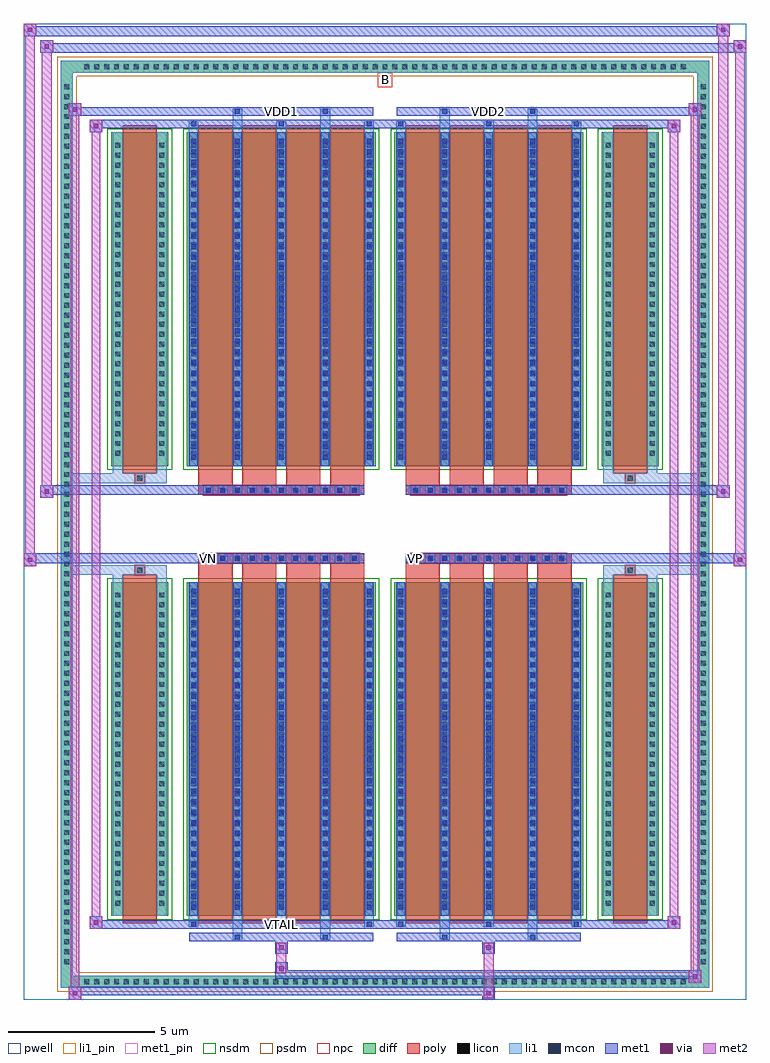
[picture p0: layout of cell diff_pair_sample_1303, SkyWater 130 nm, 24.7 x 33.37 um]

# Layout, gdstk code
import gdstk
lib = gdstk.Library(unit=1e-6, precision=5e-09)
def R(c, l, rs):  # rectangles x0, y0, x1, y1
    for r in rs: c.add(gdstk.rectangle(r[:2], r[2:], *l))
def A(c, l, x, y, w, h, nx, ny, dx, dy):  # array of equal rectangles
    R(c, l, [(x+i*dx, y+j*dy, x+i*dx+w, y+j*dy+h) for i in range(nx) for j in range(ny)])
def P(c, l, *ps):  # polygons
    for p in ps: c.add(gdstk.Polygon(p, *l))
pwell = (64, 44)
diff = (65, 20)
poly = (66, 20)
licon = (66, 44)
li1_pin = (67, 16)
li1 = (67, 20)
mcon = (67, 44)
met1_pin = (68, 16)
met1 = (68, 20)
via = (68, 44)
met2 = (69, 20)
nsdm = (93, 44)
psdm = (94, 20)
npc = (95, 20)

diff_pair_sample_1303 = lib.new_cell('diff_pair_sample_1303')
R(diff_pair_sample_1303, pwell, [(-12.35,-16.25,12.35,17.12), (-9.67,-14.44,-0.01,-0.8), (0.01,-14.44,9.67,-0.8), (-9.67,0.8,-0.01,14.44), (0.01,0.8,9.67,14.44)])
A(diff_pair_sample_1303, diff, -10.405, -15.85, 0.41, 0.41, 61, 2, 0.34, 31.29)
A(diff_pair_sample_1303, diff, -11.08, -15.165, 0.41, 0.41, 1, 89, 0, 0.34)
A(diff_pair_sample_1303, diff, 10.67, -15.165, 0.41, 0.41, 1, 89, 0, 0.34)
R(diff_pair_sample_1303, diff, [(-10.405,-15.85,10.405,-15.44), (-11.08,-15.165,-10.67,15.165), (10.67,-15.165,11.08,15.165), (-9.36,-13.395,-7.41,-1.985), (-6.77,-13.395,-0.32,-1.985), (0.32,-13.395,6.77,-1.985), (7.41,-13.395,9.36,-1.985), (-9.36,1.985,-7.41,13.395), (-6.77,1.985,-0.32,13.395), (0.32,1.985,6.77,13.395), (7.41,1.985,9.36,13.395), (-10.405,15.44,10.405,15.85)])
P(diff_pair_sample_1303, diff, [(11.08,15.85),(-11.08,15.85),(-11.08,-15.44),(-10.67,-15.44),(-10.67,15.44),(10.67,15.44),(10.67,-15.44),(-10.67,-15.44),(-11.08,-15.44),(-11.08,-15.85),(11.08,-15.85)])
A(diff_pair_sample_1303, poly, -6.38, -13.645, 1.17, 11.91, 4, 2, 1.5, 15.38)
A(diff_pair_sample_1303, poly, 0.71, -13.645, 1.17, 11.91, 4, 2, 1.5, 15.38)
A(diff_pair_sample_1303, poly, -6.38, -1.735, 1.17, 0.405, 4, 2, 1.5, 3.065)
A(diff_pair_sample_1303, poly, 0.71, -1.735, 1.17, 0.405, 4, 2, 1.5, 3.065)
A(diff_pair_sample_1303, poly, -6.21, -1.33, 0.33, 0.33, 11, 2, 0.5, 2.33)
A(diff_pair_sample_1303, poly, 0.88, -1.33, 0.33, 0.33, 11, 2, 0.5, 2.33)
R(diff_pair_sample_1303, poly, [(-8.97,-13.645,-7.8,-1.735), (7.8,-13.645,8.97,-1.735), (-8.55,-1.735,-8.22,-1.405), (-8.55,-1.735,-8.22,-1.405), (8.22,-1.735,8.55,-1.405), (8.22,-1.735,8.55,-1.405), (-6.38,-1.33,-0.71,-1), (0.71,-1.33,6.38,-1), (-6.38,1,-0.71,1.33), (0.71,1,6.38,1.33), (-8.55,1.405,-8.22,1.735), (-8.55,1.405,-8.22,1.735), (8.22,1.405,8.55,1.735), (8.22,1.405,8.55,1.735), (-8.97,1.735,-7.8,13.645), (7.8,1.735,8.97,13.645)])
A(diff_pair_sample_1303, licon, -10.285, -15.73, 0.17, 0.17, 61, 2, 0.34, 31.29)
A(diff_pair_sample_1303, licon, -10.96, -15.045, 0.17, 0.17, 1, 89, 0, 0.34)
A(diff_pair_sample_1303, licon, 10.79, -15.045, 0.17, 0.17, 1, 89, 0, 0.34)
A(diff_pair_sample_1303, licon, -9.22, -13.045, 0.17, 0.17, 1, 32, 0, 0.34)
A(diff_pair_sample_1303, licon, -7.72, -13.045, 0.17, 0.17, 1, 32, 0, 0.34)
A(diff_pair_sample_1303, licon, -6.63, -13.045, 0.17, 0.17, 5, 32, 1.5, 0.34)
A(diff_pair_sample_1303, licon, 0.46, -13.045, 0.17, 0.17, 5, 32, 1.5, 0.34)
A(diff_pair_sample_1303, licon, 7.55, -13.045, 0.17, 0.17, 1, 32, 0, 0.34)
A(diff_pair_sample_1303, licon, 9.05, -13.045, 0.17, 0.17, 1, 32, 0, 0.34)
A(diff_pair_sample_1303, licon, -6.13, -1.25, 0.17, 0.17, 11, 2, 0.5, 2.33)
A(diff_pair_sample_1303, licon, 0.96, -1.25, 0.17, 0.17, 11, 2, 0.5, 2.33)
A(diff_pair_sample_1303, licon, -9.22, 2.335, 0.17, 0.17, 1, 32, 0, 0.34)
A(diff_pair_sample_1303, licon, -7.72, 2.335, 0.17, 0.17, 1, 32, 0, 0.34)
A(diff_pair_sample_1303, licon, -6.63, 2.335, 0.17, 0.17, 5, 32, 1.5, 0.34)
A(diff_pair_sample_1303, licon, 0.46, 2.335, 0.17, 0.17, 5, 32, 1.5, 0.34)
A(diff_pair_sample_1303, licon, 7.55, 2.335, 0.17, 0.17, 1, 32, 0, 0.34)
A(diff_pair_sample_1303, licon, 9.05, 2.335, 0.17, 0.17, 1, 32, 0, 0.34)
R(diff_pair_sample_1303, licon, [(-8.47,-1.655,-8.3,-1.485), (8.3,-1.655,8.47,-1.485), (-8.47,1.485,-8.3,1.655), (8.3,1.485,8.47,1.655)])
R(diff_pair_sample_1303, li1_pin, [(-0.25,14.94,0.25,15.44)])
A(diff_pair_sample_1303, li1, -10.365, -15.81, 0.33, 0.33, 61, 2, 0.34, 31.29)
A(diff_pair_sample_1303, li1, -11.04, -15.125, 0.33, 0.33, 1, 89, 0, 0.34)
A(diff_pair_sample_1303, li1, 10.71, -15.125, 0.33, 0.33, 1, 89, 0, 0.34)
A(diff_pair_sample_1303, li1, -6.71, -13.77, 0.33, 0.375, 3, 2, 3, 27.165)
A(diff_pair_sample_1303, li1, -6.63, -13.77, 0.17, 0.17, 3, 2, 3, 27.37)
A(diff_pair_sample_1303, li1, 0.38, -13.77, 0.33, 0.375, 3, 2, 3, 27.165)
A(diff_pair_sample_1303, li1, 0.46, -13.77, 0.17, 0.17, 3, 2, 3, 27.37)
A(diff_pair_sample_1303, li1, -6.71, -13.395, 0.33, 11.41, 5, 2, 1.5, 15.38)
A(diff_pair_sample_1303, li1, 0.38, -13.395, 0.33, 11.41, 5, 2, 1.5, 15.38)
A(diff_pair_sample_1303, li1, -6.63, -13.175, 0.17, 0.17, 5, 31, 1.5, 0.36)
A(diff_pair_sample_1303, li1, -6.63, -13.175, 0.17, 10.97, 5, 2, 1.5, 15.38)
A(diff_pair_sample_1303, li1, 0.46, -13.175, 0.17, 0.17, 5, 31, 1.5, 0.36)
A(diff_pair_sample_1303, li1, 0.46, -13.175, 0.17, 10.97, 5, 2, 1.5, 15.38)
A(diff_pair_sample_1303, li1, -9.3, -13.125, 0.33, 0.33, 1, 32, 0, 0.34)
A(diff_pair_sample_1303, li1, -7.8, -13.125, 0.33, 0.33, 1, 32, 0, 0.34)
A(diff_pair_sample_1303, li1, -6.71, -13.125, 0.33, 0.33, 5, 32, 1.5, 0.34)
A(diff_pair_sample_1303, li1, 0.38, -13.125, 0.33, 0.33, 5, 32, 1.5, 0.34)
A(diff_pair_sample_1303, li1, 7.47, -13.125, 0.33, 0.33, 1, 32, 0, 0.34)
A(diff_pair_sample_1303, li1, 8.97, -13.125, 0.33, 0.33, 1, 32, 0, 0.34)
A(diff_pair_sample_1303, li1, -6.21, -1.33, 0.33, 0.33, 11, 2, 0.5, 2.33)
A(diff_pair_sample_1303, li1, 0.88, -1.33, 0.33, 0.33, 11, 2, 0.5, 2.33)
A(diff_pair_sample_1303, li1, -6.63, 2.205, 0.17, 0.17, 5, 31, 1.5, 0.36)
A(diff_pair_sample_1303, li1, 0.46, 2.205, 0.17, 0.17, 5, 31, 1.5, 0.36)
A(diff_pair_sample_1303, li1, -9.3, 2.255, 0.33, 0.33, 1, 32, 0, 0.34)
A(diff_pair_sample_1303, li1, -7.8, 2.255, 0.33, 0.33, 1, 32, 0, 0.34)
A(diff_pair_sample_1303, li1, -6.71, 2.255, 0.33, 0.33, 5, 32, 1.5, 0.34)
A(diff_pair_sample_1303, li1, 0.38, 2.255, 0.33, 0.33, 5, 32, 1.5, 0.34)
A(diff_pair_sample_1303, li1, 7.47, 2.255, 0.33, 0.33, 1, 32, 0, 0.34)
A(diff_pair_sample_1303, li1, 8.97, 2.255, 0.33, 0.33, 1, 32, 0, 0.34)
R(diff_pair_sample_1303, li1, [(-11.08,-15.85,-10.67,-15.44), (-11.08,-15.85,-10.67,-15.44), (-10.67,-15.85,10.67,-15.44), (10.67,-15.85,11.08,-15.44), (10.67,-15.85,11.08,-15.44), (-11.08,-15.44,-10.67,15.44), (10.67,-15.44,11.08,15.44), (-5.21,-14.2,-4.88,-13.395), (-5.13,-14.2,-4.96,-14.03), (-2.21,-14.2,-1.88,-13.395), (-2.13,-14.2,-1.96,-14.03), (1.88,-14.2,2.21,-13.395), (1.96,-14.2,2.13,-14.03), (4.88,-14.2,5.21,-13.395), (4.96,-14.2,5.13,-14.03), (-9.3,-13.395,-8.97,-1.985), (-7.8,-13.395,-7.47,-1.985), (7.47,-13.395,7.8,-1.985), (8.97,-13.395,9.3,-1.985), (-9.3,-1.985,-8.97,-1.405), (-7.8,-1.985,-7.47,-1.405), (7.47,-1.985,7.8,-1.405), (8.97,-1.985,9.3,-1.405), (-11.08,-1.735,-8.55,-1.405), (-9.3,-1.735,-8.55,-1.405), (-8.55,-1.735,-8.22,-1.405), (-8.22,-1.735,-7.47,-1.405), (7.47,-1.735,8.22,-1.405), (8.22,-1.735,8.55,-1.405), (8.22,-1.735,11.08,-1.405), (8.55,-1.735,9.3,-1.405), (-11.08,1.405,-8.55,1.735), (-9.3,1.405,-8.55,1.735), (-9.3,1.405,-8.97,1.985), (-8.55,1.405,-8.22,1.735), (-8.22,1.405,-7.47,1.735), (-7.8,1.405,-7.47,1.985), (7.47,1.405,8.22,1.735), (7.47,1.405,7.8,1.985), (8.22,1.405,8.55,1.735), (8.22,1.405,11.08,1.735), (8.55,1.405,9.3,1.735), (8.97,1.405,9.3,1.985), (-9.3,1.985,-8.97,13.395), (-7.8,1.985,-7.47,13.395), (7.47,1.985,7.8,13.395), (8.97,1.985,9.3,13.395), (-5.21,13.395,-4.88,14.2), (-2.21,13.395,-1.88,14.2), (1.88,13.395,2.21,14.2), (4.88,13.395,5.21,14.2), (-5.13,14.03,-4.96,14.2), (-2.13,14.03,-1.96,14.2), (1.96,14.03,2.13,14.2), (4.96,14.03,5.13,14.2), (-11.08,15.44,-10.67,15.85), (-11.08,15.44,-10.67,15.85), (-10.67,15.44,10.67,15.85), (10.67,15.44,11.08,15.85), (10.67,15.44,11.08,15.85)])
A(diff_pair_sample_1303, mcon, -6.63, -13.77, 0.17, 0.17, 3, 2, 3, 27.37)
A(diff_pair_sample_1303, mcon, 0.46, -13.77, 0.17, 0.17, 3, 2, 3, 27.37)
A(diff_pair_sample_1303, mcon, -6.63, -13.175, 0.17, 0.17, 5, 31, 1.5, 0.36)
A(diff_pair_sample_1303, mcon, 0.46, -13.175, 0.17, 0.17, 5, 31, 1.5, 0.36)
A(diff_pair_sample_1303, mcon, -6.13, -1.25, 0.17, 0.17, 11, 2, 0.5, 2.33)
A(diff_pair_sample_1303, mcon, 0.96, -1.25, 0.17, 0.17, 11, 2, 0.5, 2.33)
A(diff_pair_sample_1303, mcon, -6.63, 2.205, 0.17, 0.17, 5, 31, 1.5, 0.36)
A(diff_pair_sample_1303, mcon, 0.46, 2.205, 0.17, 0.17, 5, 31, 1.5, 0.36)
R(diff_pair_sample_1303, mcon, [(-5.13,-14.2,-4.96,-14.03), (-2.13,-14.2,-1.96,-14.03), (1.96,-14.2,2.13,-14.03), (4.96,-14.2,5.13,-14.03), (-5.13,14.03,-4.96,14.2), (-2.13,14.03,-1.96,14.2), (1.96,14.03,2.13,14.2), (4.96,14.03,5.13,14.2)])
R(diff_pair_sample_1303, met1_pin, [(-3.68,-13.81,-3.41,-13.54), (-6.18,-1.29,-5.91,-1.02), (0.91,-1.29,1.18,-1.02), (-3.68,13.99,-3.41,14.26), (3.41,13.99,3.68,14.26)])
A(diff_pair_sample_1303, met1, -6.69, -13.83, 0.29, 0.29, 3, 2, 3, 27.37)
A(diff_pair_sample_1303, met1, 0.4, -13.83, 0.29, 0.29, 3, 2, 3, 27.37)
A(diff_pair_sample_1303, met1, -6.69, -13.395, 0.29, 11.41, 5, 2, 1.5, 15.38)
A(diff_pair_sample_1303, met1, 0.4, -13.395, 0.29, 11.41, 5, 2, 1.5, 15.38)
A(diff_pair_sample_1303, met1, -6.69, -13.235, 0.29, 0.29, 5, 31, 1.5, 0.36)
A(diff_pair_sample_1303, met1, 0.4, -13.235, 0.29, 0.29, 5, 31, 1.5, 0.36)
A(diff_pair_sample_1303, met1, -6.19, -1.31, 0.29, 0.29, 11, 2, 0.5, 2.33)
A(diff_pair_sample_1303, met1, 0.9, -1.31, 0.29, 0.29, 11, 2, 0.5, 2.33)
A(diff_pair_sample_1303, met1, -6.69, 2.145, 0.29, 0.29, 5, 31, 1.5, 0.36)
A(diff_pair_sample_1303, met1, 0.4, 2.145, 0.29, 0.29, 5, 31, 1.5, 0.36)
R(diff_pair_sample_1303, met1, [(-10.81,-16.25,-10.38,-15.82), (3.33,-16.25,3.76,-15.82), (-10.81,-16.11,3.76,-15.82), (10.38,-15.68,10.81,-15.25), (-3.76,-15.54,10.81,-15.25), (-3.76,-15.4,-3.33,-14.97), (-3.76,-14.69,-3.33,-14.26), (3.33,-14.69,3.76,-14.26), (-6.69,-14.26,-0.4,-13.97), (-5.19,-14.26,-4.9,-13.97), (-2.19,-14.26,-1.9,-13.97), (0.4,-14.26,6.69,-13.97), (1.9,-14.26,2.19,-13.97), (4.9,-14.26,5.19,-13.97), (-10.1,-13.83,-9.67,-13.4), (-10.1,-13.83,-6.69,-13.54), (-6.69,-13.83,-0.4,-13.54), (-0.4,-13.83,0.4,-13.54), (0.4,-13.83,6.69,-13.54), (6.69,-13.83,10.1,-13.54), (9.67,-13.83,10.1,-13.4), (-12.35,-1.43,-11.92,-1), (11.92,-1.43,12.35,-1), (-12.35,-1.33,-0.71,-1), (-6.38,-1.33,-0.71,-1), (0.71,-1.33,6.38,-1), (0.71,-1.33,12.35,-1), (-11.78,0.9,-11.35,1.33), (11.35,0.9,11.78,1.33), (-11.78,1,-6.38,1.33), (-6.38,1,-0.71,1.33), (0.71,1,6.38,1.33), (6.38,1,11.78,1.33), (-10.1,13.4,-9.67,13.83), (9.67,13.4,10.1,13.83), (-10.1,13.54,-6.69,13.83), (-6.69,13.54,-0.4,13.83), (-0.4,13.54,0.4,13.83), (0.4,13.54,6.69,13.83), (6.69,13.54,10.1,13.83), (-10.81,13.97,-10.38,14.4), (-10.81,13.97,-6.69,14.26), (-6.69,13.97,-0.4,14.26), (-5.19,13.97,-4.9,14.26), (-2.19,13.97,-1.9,14.26), (0.4,13.97,6.69,14.26), (1.9,13.97,2.19,14.26), (4.9,13.97,5.19,14.26), (6.69,13.97,10.81,14.26), (10.38,13.97,10.81,14.4), (-11.78,16.12,-11.35,16.55), (-11.78,16.12,-9.67,16.45), (-9.67,16.12,9.67,16.45), (9.67,16.12,12.35,16.45), (11.92,16.12,12.35,16.55), (-12.35,16.69,-11.92,17.12), (-12.35,16.69,-9.67,17.02), (-9.67,16.69,9.67,17.02), (9.67,16.69,11.78,17.02), (11.35,16.69,11.78,17.12)])
R(diff_pair_sample_1303, via, [(-10.67,-16.11,-10.52,-15.96), (3.47,-16.11,3.62,-15.96), (10.52,-15.54,10.67,-15.39), (-3.62,-15.26,-3.47,-15.11), (-3.62,-14.55,-3.47,-14.4), (3.47,-14.55,3.62,-14.4), (-9.96,-13.69,-9.81,-13.54), (9.81,-13.69,9.96,-13.54), (-12.21,-1.29,-12.06,-1.14), (12.06,-1.29,12.21,-1.14), (-11.64,1.04,-11.49,1.19), (11.49,1.04,11.64,1.19), (-9.96,13.54,-9.81,13.69), (9.81,13.54,9.96,13.69), (-10.67,14.11,-10.52,14.26), (10.52,14.11,10.67,14.26), (-11.64,16.26,-11.49,16.41), (12.06,16.26,12.21,16.41), (-12.21,16.83,-12.06,16.98), (11.49,16.83,11.64,16.98)])
R(diff_pair_sample_1303, met2, [(-10.81,-16.25,-10.38,-15.82), (-10.74,-16.25,-10.45,14.4), (-10.45,-16.25,-10.38,-15.82), (-10.76,-16.2,-10.43,-15.87), (3.38,-16.2,3.71,-15.87), (3.38,-15.87,3.71,-14.64), (10.38,-15.68,10.81,-15.25), (10.45,-15.68,10.74,14.4), (10.74,-15.68,10.81,-15.25), (10.43,-15.63,10.76,-15.3), (-3.71,-15.35,-3.38,-15.02), (-3.71,-15.02,-3.38,-14.64), (-3.71,-14.64,-3.38,-14.31), (3.38,-14.64,3.71,-14.31), (-10.1,-13.83,-9.67,-13.4), (-10.03,-13.83,-9.74,13.83), (-9.74,-13.83,-9.67,-13.4), (9.67,-13.83,10.1,-13.4), (9.74,-13.83,10.03,13.83), (10.03,-13.83,10.1,-13.4), (-10.05,-13.78,-9.72,-13.45), (9.72,-13.78,10.05,-13.45), (-12.35,-1.43,-11.92,-1), (-12.3,-1.43,-11.97,17.12), (-11.97,-1.43,-11.92,-1), (11.92,-1.43,12.35,-1), (11.97,-1.43,12.3,16.55), (12.3,-1.43,12.35,-1), (-12.3,-1.38,-11.97,-1.05), (11.97,-1.38,12.3,-1.05), (-11.78,0.9,-11.35,1.33), (-11.73,0.9,-11.4,16.55), (-11.4,0.9,-11.35,1.33), (11.35,0.9,11.78,1.33), (11.4,0.9,11.73,17.12), (11.73,0.9,11.78,1.33), (-11.73,0.95,-11.4,1.28), (11.4,0.95,11.73,1.28), (-10.1,13.4,-9.67,13.83), (-9.74,13.4,-9.67,13.83), (9.67,13.4,10.1,13.83), (10.03,13.4,10.1,13.83), (-10.05,13.45,-9.72,13.78), (9.72,13.45,10.05,13.78), (-10.81,13.97,-10.38,14.4), (-10.45,13.97,-10.38,14.4), (10.38,13.97,10.81,14.4), (10.74,13.97,10.81,14.4), (-10.76,14.02,-10.43,14.35), (10.43,14.02,10.76,14.35), (-11.78,16.12,-11.35,16.55), (-11.4,16.12,-11.35,16.55), (11.92,16.12,12.35,16.55), (12.3,16.12,12.35,16.55), (-11.73,16.17,-11.4,16.5), (11.97,16.17,12.3,16.5), (-12.35,16.69,-11.92,17.12), (-11.97,16.69,-11.92,17.12), (11.35,16.69,11.78,17.12), (11.73,16.69,11.78,17.12), (-12.3,16.74,-11.97,17.07), (11.4,16.74,11.73,17.07)])
R(diff_pair_sample_1303, nsdm, [(-9.49,-13.525,-7.28,-1.855), (-6.9,-13.525,-0.19,-1.855), (0.19,-13.525,6.9,-1.855), (7.28,-13.525,9.49,-1.855), (-9.49,1.855,-7.28,13.525), (-6.9,1.855,-0.19,13.525), (0.19,1.855,6.9,13.525), (7.28,1.855,9.49,13.525)])
P(diff_pair_sample_1303, psdm, [(11.21,15.98),(-11.21,15.98),(-11.21,-15.31),(-10.54,-15.31),(-10.54,15.31),(10.54,15.31),(10.54,-15.31),(-10.54,-15.31),(-11.21,-15.31),(-11.21,-15.98),(11.21,-15.98)])
A(diff_pair_sample_1303, npc, -6.23, -1.35, 0.37, 0.37, 11, 2, 0.5, 2.33)
A(diff_pair_sample_1303, npc, 0.86, -1.35, 0.37, 0.37, 11, 2, 0.5, 2.33)
R(diff_pair_sample_1303, npc, [(-8.57,-1.755,-8.2,-1.385), (8.2,-1.755,8.57,-1.385), (-6.23,-1.35,-5.36,-0.98), (-6.23,-1.35,-5.36,-0.98), (-5.73,-1.35,-4.86,-0.98), (-5.73,-1.35,-4.86,-0.98), (-5.23,-1.35,-4.36,-0.98), (-5.23,-1.35,-4.36,-0.98), (-4.73,-1.35,-3.86,-0.98), (-4.73,-1.35,-3.86,-0.98), (-4.23,-1.35,-3.36,-0.98), (-4.23,-1.35,-3.36,-0.98), (-3.73,-1.35,-2.86,-0.98), (-3.73,-1.35,-2.86,-0.98), (-3.23,-1.35,-2.36,-0.98), (-3.23,-1.35,-2.36,-0.98), (-2.73,-1.35,-1.86,-0.98), (-2.73,-1.35,-1.86,-0.98), (-2.23,-1.35,-1.36,-0.98), (-2.23,-1.35,-1.36,-0.98), (-1.73,-1.35,-0.86,-0.98), (-1.73,-1.35,-0.86,-0.98), (0.86,-1.35,1.73,-0.98), (0.86,-1.35,1.73,-0.98), (1.36,-1.35,2.23,-0.98), (1.36,-1.35,2.23,-0.98), (1.86,-1.35,2.73,-0.98), (1.86,-1.35,2.73,-0.98), (2.36,-1.35,3.23,-0.98), (2.36,-1.35,3.23,-0.98), (2.86,-1.35,3.73,-0.98), (2.86,-1.35,3.73,-0.98), (3.36,-1.35,4.23,-0.98), (3.36,-1.35,4.23,-0.98), (3.86,-1.35,4.73,-0.98), (3.86,-1.35,4.73,-0.98), (4.36,-1.35,5.23,-0.98), (4.36,-1.35,5.23,-0.98), (4.86,-1.35,5.73,-0.98), (4.86,-1.35,5.73,-0.98), (5.36,-1.35,6.23,-0.98), (5.36,-1.35,6.23,-0.98), (-6.23,0.98,-5.36,1.35), (-6.23,0.98,-5.36,1.35), (-5.73,0.98,-4.86,1.35), (-5.73,0.98,-4.86,1.35), (-5.23,0.98,-4.36,1.35), (-5.23,0.98,-4.36,1.35), (-4.73,0.98,-3.86,1.35), (-4.73,0.98,-3.86,1.35), (-4.23,0.98,-3.36,1.35), (-4.23,0.98,-3.36,1.35), (-3.73,0.98,-2.86,1.35), (-3.73,0.98,-2.86,1.35), (-3.23,0.98,-2.36,1.35), (-3.23,0.98,-2.36,1.35), (-2.73,0.98,-1.86,1.35), (-2.73,0.98,-1.86,1.35), (-2.23,0.98,-1.36,1.35), (-2.23,0.98,-1.36,1.35), (-1.73,0.98,-0.86,1.35), (-1.73,0.98,-0.86,1.35), (0.86,0.98,1.73,1.35), (0.86,0.98,1.73,1.35), (1.36,0.98,2.23,1.35), (1.36,0.98,2.23,1.35), (1.86,0.98,2.73,1.35), (1.86,0.98,2.73,1.35), (2.36,0.98,3.23,1.35), (2.36,0.98,3.23,1.35), (2.86,0.98,3.73,1.35), (2.86,0.98,3.73,1.35), (3.36,0.98,4.23,1.35), (3.36,0.98,4.23,1.35), (3.86,0.98,4.73,1.35), (3.86,0.98,4.73,1.35), (4.36,0.98,5.23,1.35), (4.36,0.98,5.23,1.35), (4.86,0.98,5.73,1.35), (4.86,0.98,5.73,1.35), (5.36,0.98,6.23,1.35), (5.36,0.98,6.23,1.35), (-8.57,1.385,-8.2,1.755), (8.2,1.385,8.57,1.755)])
diff_pair_sample_1303.add(gdstk.Label('VTAIL', (-3.545,-13.675), layer=68, texttype=5))
diff_pair_sample_1303.add(gdstk.Label('VN', (-6.045,-1.155), layer=68, texttype=5))
diff_pair_sample_1303.add(gdstk.Label('VP', (1.045,-1.155), layer=68, texttype=5))
diff_pair_sample_1303.add(gdstk.Label('B', (0,15.19), layer=67, texttype=5))
diff_pair_sample_1303.add(gdstk.Label('VDD2', (3.545,14.125), layer=68, texttype=5))
diff_pair_sample_1303.add(gdstk.Label('VDD1', (-3.545,14.125), layer=68, texttype=5))

lib.write_gds('diff_pair_sample_1303.gds')
